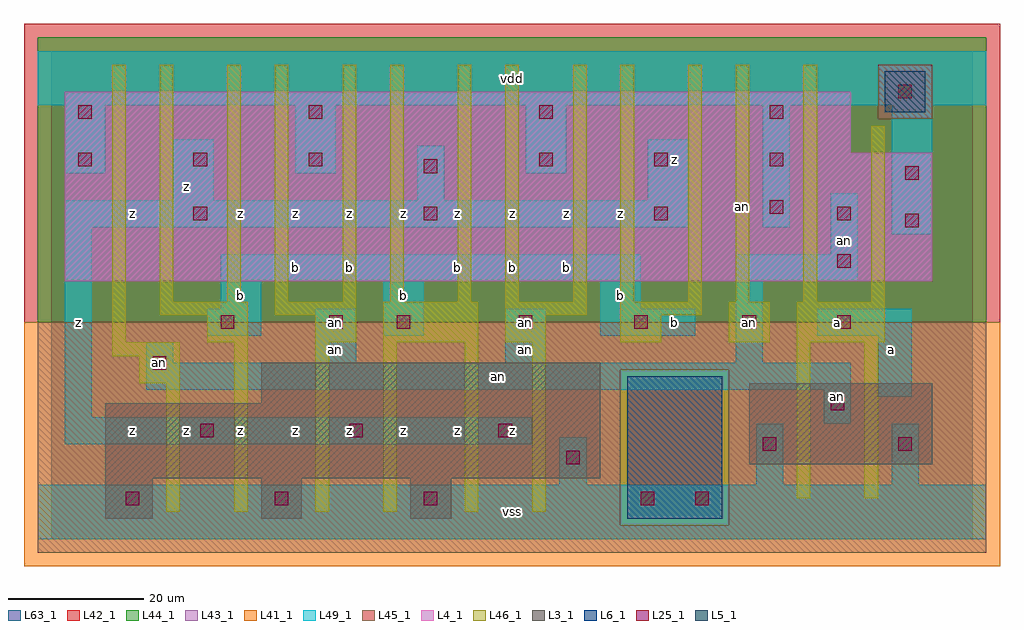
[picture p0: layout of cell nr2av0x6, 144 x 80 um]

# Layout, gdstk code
import gdstk
lib = gdstk.Library(unit=1e-6, precision=1e-09)
def R(c, l, rs):  # rectangles x0, y0, x1, y1
    for r in rs: c.add(gdstk.rectangle(r[:2], r[2:], *l))
def A(c, l, x, y, w, h, nx, ny, dx, dy):  # array of equal rectangles
    R(c, l, [(x+i*dx, y+j*dy, x+i*dx+w, y+j*dy+h) for i in range(nx) for j in range(ny)])
L3_1 = (3, 1)
L4_1 = (4, 1)
L5_1 = (5, 1)
L6_1 = (6, 1)
L25_1 = (25, 1)
L41_1 = (41, 1)
L42_1 = (42, 1)
L43_1 = (43, 1)
L44_1 = (44, 1)
L45_1 = (45, 1)
L46_1 = (46, 1)
L49_1 = (49, 1)
L63_1 = (63, 1)

nr2av0x6 = lib.new_cell('nr2av0x6')
R(nr2av0x6, L3_1, [(8,3,15,9), (31,3,37,9), (53,3,59,9), (8,9,81,20), (103,11,130,23), (31,20,81,26)])
R(nr2av0x6, L4_1, [(2,38,130,57), (2,57,118,66)])
R(nr2av0x6, L5_1, [(123,63,129,69)])
R(nr2av0x6, L6_1, [(85,3,99,24), (85,3,99,24)])
A(nr2av0x6, L25_1, 11, 5, 2, 2, 3, 1, 22, 0)
A(nr2av0x6, L25_1, 22, 15, 2, 2, 3, 1, 22, 0)
A(nr2av0x6, L25_1, 21, 47, 2, 2, 3, 1, 34, 0)
A(nr2av0x6, L25_1, 4, 55, 2, 2, 3, 1, 17, 0)
A(nr2av0x6, L25_1, 72, 55, 2, 2, 3, 1, 17, 0)
A(nr2av0x6, L25_1, 4, 62, 2, 2, 4, 1, 34, 0)
R(nr2av0x6, L25_1, [(87,5,89,7), (95,5,97,7), (76,11,78,13), (105,13,107,15), (125,13,127,15), (115,19,117,21), (15,25,17,27), (25,31,27,33), (41,31,43,33), (51,31,53,33), (69,31,71,33), (86,31,88,33), (102,31,104,33), (116,31,118,33), (116,40,118,42), (126,46,128,48), (116,47,118,49), (106,48,108,50), (126,53,128,55), (55,54,57,56), (125,65,127,67)])
R(nr2av0x6, L41_1, [(-4,-4,140,32)])
R(nr2av0x6, L42_1, [(-4,32,140,76)])
R(nr2av0x6, L43_1, [(8,3,15,9), (31,3,37,9), (53,3,59,9), (85,3,99,24), (8,9,81,20), (103,11,130,23), (31,20,81,26), (2,38,130,57), (2,57,118,66), (123,63,129,69)])
R(nr2av0x6, L44_1, [(84,2,100,25), (-2,32,138,62), (-2,62,122,70), (130,62,138,70), (-2,70,138,74)])
R(nr2av0x6, L45_1, [(-2,-2,138,2), (-2,2,84,25), (100,2,138,25), (-2,25,138,32), (122,62,130,70)])
R(nr2av0x6, L46_1, [(17,4,19,23), (27,4,29,29), (39,4,41,29), (49,4,51,29), (61,4,63,29), (71,4,73,29), (110,6,112,29), (120,6,122,29), (13,23,19,27), (9,27,19,29), (9,29,11,70), (23,29,29,33), (39,29,45,33), (49,29,63,35), (67,29,73,33), (84,29,90,33), (100,29,106,35), (110,29,123,35), (16,33,29,35), (33,33,45,35), (67,33,79,35), (84,33,96,35), (16,35,18,70), (26,35,28,70), (33,35,35,70), (43,35,45,70), (50,35,52,70), (60,35,62,70), (67,35,69,70), (77,35,79,70), (84,35,86,70), (94,35,96,70), (101,35,103,70), (111,35,113,70), (121,35,123,61)])
A(nr2av0x6, L49_1, 2, 54, 6, 10, 3, 1, 34, 0)
R(nr2av0x6, L49_1, [(-2,0,138,8), (75,8,79,15), (104,8,108,17), (124,8,128,17), (2,14,71,18), (114,17,118,22), (2,18,6,46), (122,21,127,30), (14,22,118,26), (14,26,18,29), (39,26,45,34), (67,26,73,34), (101,26,105,38), (23,30,31,34), (49,30,55,38), (81,30,95,34), (113,30,127,34), (25,34,31,38), (81,34,87,38), (25,38,87,42), (101,38,119,42), (115,42,119,51), (124,45,130,64), (2,46,94,50), (105,46,109,64), (18,50,24,59), (54,50,58,58), (88,50,94,59), (-2,64,138,72)])
R(nr2av0x6, L63_1, [(0,0,136,72)])
nr2av0x6.add(gdstk.Label('an', (16,26), layer=49, texttype=1))
nr2av0x6.add(gdstk.Label('an', (42,32), layer=49, texttype=1))
nr2av0x6.add(gdstk.Label('an', (70,32), layer=49, texttype=1))
nr2av0x6.add(gdstk.Label('an', (102,49), layer=46, texttype=1))
nr2av0x6.add(gdstk.Label('z', (12,16), layer=49, texttype=1))
nr2av0x6.add(gdstk.Label('z', (20,16), layer=49, texttype=1))
nr2av0x6.add(gdstk.Label('z', (4,32), layer=49, texttype=1))
nr2av0x6.add(gdstk.Label('z', (20,52), layer=49, texttype=1))
nr2av0x6.add(gdstk.Label('z', (12,48), layer=49, texttype=1))
nr2av0x6.add(gdstk.Label('z', (36,16), layer=49, texttype=1))
nr2av0x6.add(gdstk.Label('z', (44,16), layer=49, texttype=1))
nr2av0x6.add(gdstk.Label('z', (28,16), layer=49, texttype=1))
nr2av0x6.add(gdstk.Label('an', (42,28), layer=49, texttype=1))
nr2av0x6.add(gdstk.Label('b', (28,36), layer=49, texttype=1))
nr2av0x6.add(gdstk.Label('b', (36,40), layer=49, texttype=1))
nr2av0x6.add(gdstk.Label('b', (44,40), layer=49, texttype=1))
nr2av0x6.add(gdstk.Label('z', (28,48), layer=49, texttype=1))
nr2av0x6.add(gdstk.Label('z', (36,48), layer=49, texttype=1))
nr2av0x6.add(gdstk.Label('z', (44,48), layer=49, texttype=1))
nr2av0x6.add(gdstk.Label('vss', (68,4), layer=49, texttype=1))
nr2av0x6.add(gdstk.Label('z', (60,16), layer=49, texttype=1))
nr2av0x6.add(gdstk.Label('z', (68,16), layer=49, texttype=1))
nr2av0x6.add(gdstk.Label('z', (52,16), layer=49, texttype=1))
nr2av0x6.add(gdstk.Label('an', (70,28), layer=49, texttype=1))
nr2av0x6.add(gdstk.Label('b', (52,36), layer=49, texttype=1))
nr2av0x6.add(gdstk.Label('b', (60,40), layer=49, texttype=1))
nr2av0x6.add(gdstk.Label('b', (68,40), layer=49, texttype=1))
nr2av0x6.add(gdstk.Label('b', (76,40), layer=49, texttype=1))
nr2av0x6.add(gdstk.Label('z', (52,48), layer=49, texttype=1))
nr2av0x6.add(gdstk.Label('z', (60,48), layer=49, texttype=1))
nr2av0x6.add(gdstk.Label('z', (68,48), layer=49, texttype=1))
nr2av0x6.add(gdstk.Label('z', (76,48), layer=49, texttype=1))
nr2av0x6.add(gdstk.Label('vdd', (68,68), layer=49, texttype=1))
nr2av0x6.add(gdstk.Label('b', (92,32), layer=49, texttype=1))
nr2av0x6.add(gdstk.Label('an', (103,32), layer=49, texttype=1))
nr2av0x6.add(gdstk.Label('b', (84,36), layer=49, texttype=1))
nr2av0x6.add(gdstk.Label('z', (84,48), layer=49, texttype=1))
nr2av0x6.add(gdstk.Label('z', (92,56), layer=49, texttype=1))
nr2av0x6.add(gdstk.Label('an', (66,24), layer=49, texttype=1))
nr2av0x6.add(gdstk.Label('an', (116,21), layer=49, texttype=1))
nr2av0x6.add(gdstk.Label('a', (116,32), layer=49, texttype=1))
nr2av0x6.add(gdstk.Label('a', (124,28), layer=49, texttype=1))
nr2av0x6.add(gdstk.Label('an', (117,44), layer=49, texttype=1))

lib.write_gds('nr2av0x6.gds')
